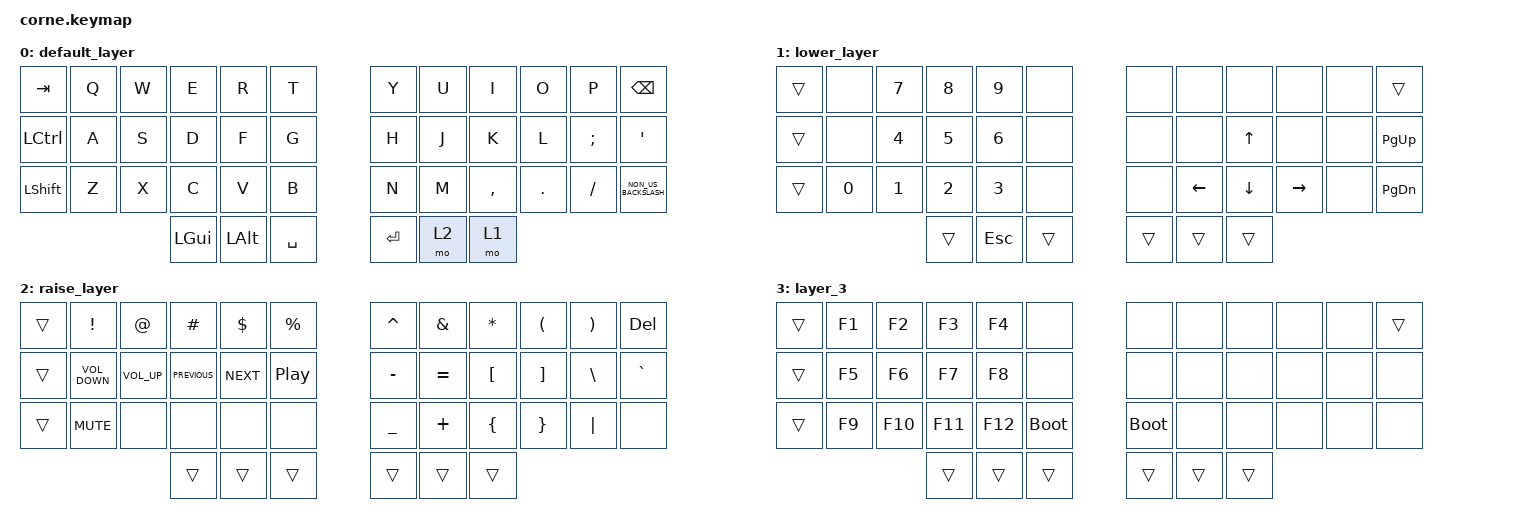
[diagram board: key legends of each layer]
/*
 * Copyright (c) 2020 The ZMK Contributors
 *
 * SPDX-License-Identifier: MIT
 */

#include <behaviors.dtsi>
#include <dt-bindings/zmk/keys.h>

/ {
    combos {
        compatible = "zmk,combos";

        layer3 {
            bindings = <&mo 3>;
            key-positions = <41 40>;
        };
    };

    keymap {
        compatible = "zmk,keymap";

        default_layer {
            bindings = <
&kp TAB         &kp Q  &kp W  &kp E     &kp R         &kp T        &kp Y      &kp U  &kp I      &kp O       &kp P      &kp BSPC
&kp LCTRL       &kp A  &kp S  &kp D     &kp F         &kp G        &kp H      &kp J  &kp K      &kp L       &kp SEMI   &kp SQT
&kp LEFT_SHIFT  &kp Z  &kp X  &kp C     &kp V         &kp B        &kp N      &kp M  &kp COMMA  &kp PERIOD  &kp SLASH  &kp NON_US_BACKSLASH
                              &kp LGUI  &kp LEFT_ALT  &kp SPACE    &kp ENTER  &mo 2  &mo 1
            >;
        };

        lower_layer {
            bindings = <
&trans  &none         &kp N7  &kp N8  &kp N9      &none     &none   &none           &none           &none            &none  &trans
&trans  &none         &kp N4  &kp N5  &kp N6      &none     &none   &none           &kp UP_ARROW    &none            &none  &kp PAGE_UP
&trans  &kp NUMBER_0  &kp N1  &kp N2  &kp N3      &none     &none   &kp LEFT_ARROW  &kp DOWN_ARROW  &kp RIGHT_ARROW  &none  &kp PAGE_DOWN
                              &trans  &kp ESCAPE  &trans    &trans  &trans          &trans
            >;
        };

        raise_layer {
            bindings = <
&trans  &kp EXCL           &kp AT           &kp HASH        &kp DOLLAR  &kp PERCENT         &kp CARET  &kp AMPERSAND  &kp ASTRK  &kp LPAR  &kp RPAR  &kp DELETE
&trans  &kp C_VOLUME_DOWN  &kp C_VOLUME_UP  &kp C_PREVIOUS  &kp C_NEXT  &kp C_PLAY_PAUSE    &kp MINUS  &kp EQUAL      &kp LBKT   &kp RBKT  &kp BSLH  &kp GRAVE
&trans  &kp C_MUTE         &none            &none           &none       &none               &kp UNDER  &kp PLUS       &kp LBRC   &kp RBRC  &kp PIPE  &none
                                            &trans          &trans      &trans              &trans     &trans         &trans
            >;
        };

        layer_3 {
            bindings = <
&trans  &kp F1  &kp F2   &kp F3   &kp F4   &none          &none        &none   &none   &none  &none  &trans
&trans  &kp F5  &kp F6   &kp F7   &kp F8   &none          &none        &none   &none   &none  &none  &none
&trans  &kp F9  &kp F10  &kp F11  &kp F12  &bootloader    &bootloader  &none   &none   &none  &none  &none
                         &trans   &trans   &trans         &trans       &trans  &trans
            >;
        };
    };
};
